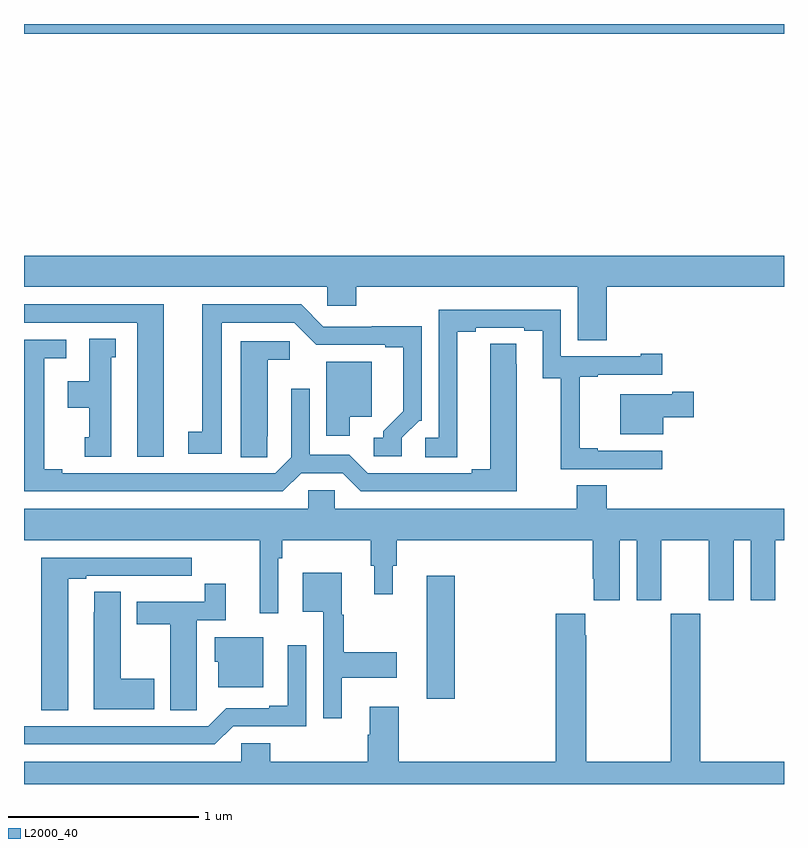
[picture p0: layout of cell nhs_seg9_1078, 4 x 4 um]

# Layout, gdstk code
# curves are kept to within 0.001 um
import gdstk
lib = gdstk.Library(unit=1e-6, precision=1e-09)
def R(c, l, rs):  # rectangles x0, y0, x1, y1
    for r in rs: c.add(gdstk.rectangle(r[:2], r[2:], *l))
def P(c, l, *ps):  # polygons
    for p in ps: c.add(gdstk.Polygon(p, *l))
L2000_40 = (2000, 40)

nhs_seg9_1078 = lib.new_cell('nhs_seg9_1078')
R(nhs_seg9_1078, L2000_40, [(173.12,1164.948,173.267,1165.597), (171,1168.448,175,1168.5)])
P(nhs_seg9_1078, L2000_40, [(174.068,1167.116),(175,1167.116),(175,1167.28),(171,1167.28),(171,1167.116),(172.596,1167.116),(172.596,1167.018),(172.748,1167.018),(172.748,1167.116),(173.915,1167.116),(173.915,1166.836),(174.068,1166.836)],
  [(172.989,1166.322),(173.079,1166.412),(173.094,1166.412),(173.094,1166.909),(172.831,1166.909),(172.831,1166.907),(172.575,1166.907),(172.458,1167.024),(171.938,1167.024),(171.938,1166.354),(171.864,1166.354),(171.864,1166.238),(172.042,1166.238),(172.042,1166.928),(172.422,1166.928),(172.539,1166.811),(172.901,1166.811),(172.901,1166.799),(172.997,1166.799),(172.997,1166.462),(172.892,1166.357),(172.892,1166.322),(172.842,1166.322),(172.842,1166.226),(172.989,1166.226)],
  [(171.736,1167.024),(171,1167.024),(171,1166.928),(171.596,1166.928),(171.596,1166.223),(171.736,1166.223)],
  [(174.358,1166.253),(174.019,1166.253),(174.019,1166.266),(173.924,1166.266),(173.924,1166.643),(174.019,1166.643),(174.019,1166.655),(174.358,1166.655),(174.358,1166.764),(174.245,1166.764),(174.245,1166.751),(173.826,1166.751),(173.826,1166.997),(173.184,1166.997),(173.184,1166.322),(173.112,1166.322),(173.112,1166.221),(173.281,1166.221),(173.281,1166.881),(173.377,1166.881),(173.377,1166.901),(173.633,1166.901),(173.633,1166.886),(173.729,1166.886),(173.729,1166.635),(173.824,1166.635),(173.824,1166.157),(174.358,1166.157)],
  [(171.46,1166.745),(171.484,1166.745),(171.484,1166.843),(171.344,1166.843),(171.344,1166.62),(171.23,1166.62),(171.23,1166.48),(171.344,1166.48),(171.344,1166.325),(171.32,1166.325),(171.32,1166.223),(171.46,1166.223)],
  [(172.459,1166.136),(172.677,1166.136),(172.773,1166.04),(173.593,1166.04),(173.592,1166.816),(173.453,1166.816),(173.453,1166.156),(173.357,1166.156),(173.357,1166.136),(172.809,1166.136),(172.713,1166.232),(172.503,1166.232),(172.503,1166.581),(172.407,1166.581),(172.407,1166.22),(172.323,1166.136),(171.202,1166.136),(171.202,1166.156),(171.106,1166.156),(171.106,1166.742),(171.223,1166.742),(171.223,1166.838),(171,1166.838),(171,1166.04),(172.363,1166.04)],
  [(172.281,1166.329),(172.282,1166.329),(172.282,1166.732),(172.399,1166.732),(172.399,1166.829),(172.142,1166.829),(172.142,1166.221),(172.281,1166.221)],
  [(172.714,1166.432),(172.831,1166.432),(172.831,1166.722),(172.592,1166.722),(172.592,1166.334),(172.714,1166.334)],
  [(174.364,1166.429),(174.526,1166.429),(174.526,1166.564),(174.413,1166.564),(174.413,1166.551),(174.137,1166.551),(174.137,1166.342),(174.364,1166.342)],
  [(172.338,1165.688),(172.358,1165.688),(172.358,1165.784),(172.825,1165.784),(172.825,1165.65),(172.844,1165.65),(172.844,1165.5),(172.942,1165.5),(172.942,1165.65),(172.961,1165.65),(172.961,1165.784),(173.993,1165.784),(173.993,1165.579),(173.999,1165.579),(173.999,1165.467),(174.136,1165.467),(174.136,1165.784),(174.224,1165.784),(174.224,1165.467),(174.355,1165.467),(174.355,1165.784),(174.605,1165.784),(174.605,1165.467),(174.736,1165.467),(174.736,1165.784),(174.824,1165.784),(174.824,1165.467),(174.955,1165.467),(174.955,1165.784),(175,1165.784),(175,1165.948),(174.068,1165.948),(174.068,1166.072),(173.908,1166.072),(173.908,1165.948),(172.635,1165.948),(172.635,1166.046),(172.497,1166.046),(172.497,1165.948),(171,1165.948),(171,1165.784),(172.241,1165.784),(172.241,1165.398),(172.338,1165.398)],
  [(171.232,1165.581),(171.328,1165.581),(171.328,1165.596),(171.604,1165.596),(171.604,1165.595),(171.77,1165.595),(171.77,1165.596),(171.883,1165.596),(171.883,1165.692),(171.092,1165.692),(171.092,1164.889),(171.232,1164.889)],
  [(172.672,1165.058),(172.963,1165.058),(172.963,1165.193),(172.684,1165.193),(172.684,1165.392),(172.672,1165.392),(172.672,1165.612),(172.466,1165.612),(172.466,1165.406),(172.575,1165.406),(172.575,1164.846),(172.672,1164.846)],
  [(171.909,1165),(171.91,1165),(171.91,1165.362),(172.061,1165.362),(172.061,1165.555),(171.952,1165.555),(171.952,1165.458),(171.593,1165.458),(171.593,1165.342),(171.77,1165.342),(171.77,1164.889),(171.909,1164.889)],
  [(171.685,1165.053),(171.508,1165.053),(171.508,1165.511),(171.369,1165.511),(171.369,1165.403),(171.368,1165.403),(171.368,1164.893),(171.685,1164.893)],
  [(175,1164.616),(174.558,1164.616),(174.558,1165.396),(174.403,1165.396),(174.403,1164.616),(173.958,1164.616),(173.958,1165.283),(173.953,1165.283),(173.953,1165.396),(173.798,1165.396),(173.798,1164.616),(172.973,1164.616),(172.973,1164.907),(172.82,1164.907),(172.82,1164.758),(172.808,1164.758),(172.808,1164.616),(172.295,1164.616),(172.295,1164.714),(172.143,1164.714),(172.143,1164.616),(171,1164.616),(171,1164.5),(175,1164.5)],
  [(172.258,1165.273),(172.004,1165.273),(172.004,1165.143),(172.022,1165.143),(172.022,1165.01),(172.258,1165.01)],
  [(172.101,1164.804),(172.485,1164.804),(172.485,1165.231),(172.388,1165.231),(172.388,1164.913),(172.292,1164.913),(172.292,1164.9),(172.065,1164.9),(171.969,1164.804),(171,1164.804),(171,1164.708),(172.005,1164.708)])

lib.write_gds('nhs_seg9_1078.gds')
